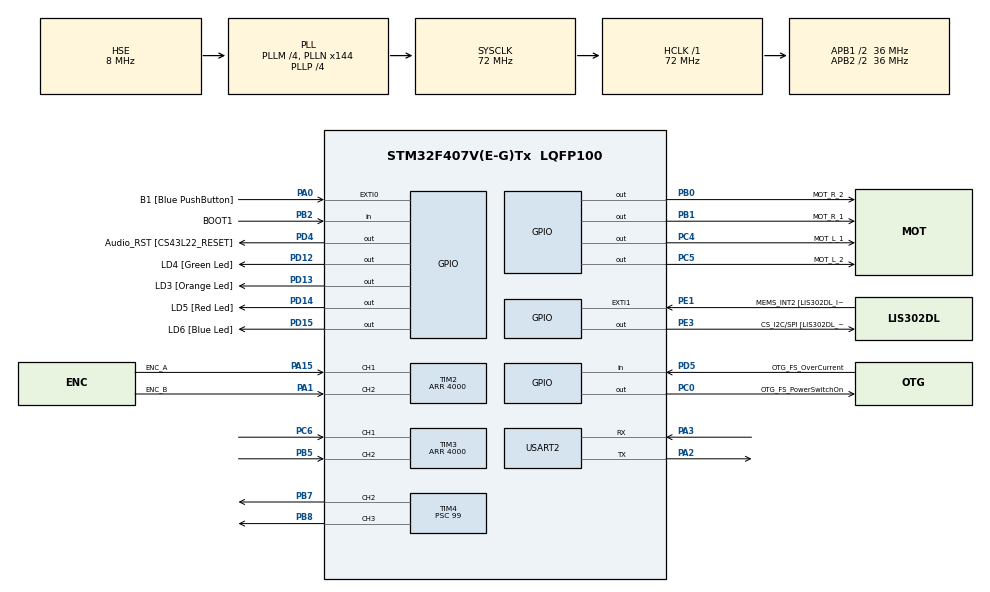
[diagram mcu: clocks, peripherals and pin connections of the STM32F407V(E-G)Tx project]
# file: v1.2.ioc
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PA11.GPIO_Speed=GPIO_SPEED_FREQ_LOW
PD12.GPIO_Label=LD4 [Green Led]
PH0-OSC_IN.Signal=RCC_OSC_IN
PC10.GPIO_PuPd=GPIO_NOPULL
PB10.GPIO_PuPd=GPIO_NOPULL
PA10.GPIO_PuPd=GPIO_NOPULL
PC12.Signal=I2S3_SD
PA14.GPIO_Label=SWCLK
PA6.GPIO_Label=SPI1_MISO [LIS302DL_SDO]
PB6.GPIO_Label=Audio_SCL [CS43L22_SCL]
PC15-OSC32_OUT.GPIO_Label=PC15-OSC32_OUT
PC3.GPIO_Speed=GPIO_SPEED_FREQ_LOW
RCC.SYSCLKSource=RCC_SYSCLKSOURCE_PLLCLK
PA6.GPIO_Mode=GPIO_MODE_AF_PP
PD14.GPIO_Speed=GPIO_SPEED_FREQ_LOW
Dma.USART2_RX.0.PeriphDataAlignment=DMA_PDATAALIGN_BYTE
PD4.Signal=GPIO_Output
RCC.APB2TimFreq_Value=72000000
PB6.Signal=I2C1_SCL
PC7.Signal=I2S3_MCK
PC3.Signal=I2S2_SD
PE1.Signal=GPXTI1
PA1.GPIO_PuPd=GPIO_PULLUP
TIM4.Channel-PWM\ Generation3\ CH3=TIM_CHANNEL_3
PB2.Signal=GPIO_Input
PC4.GPIO_Label=MOT_L_1
PA5.GPIO_PuPd=GPIO_NOPULL
PB1.GPIO_Label=MOT_R_1
PD5.GPIO_Mode=GPIO_MODE_INPUT
SH.S_TIM4_CH2.0=TIM4_CH2,PWM Generation2 CH2
PD14.GPIO_PuPd=GPIO_NOPULL
TIM4.Period=71
VP_FREERTOS_VS_CMSIS_V1.Mode=CMSIS_V1
PB2.GPIO_PuPd=GPIO_NOPULL
Mcu.Package=LQFP100
PB9.Signal=I2C1_SDA
PB1.Signal=GPIO_Output
NVIC.TimeBase=TIM1_UP_TIM10_IRQn
PD12.Signal=GPIO_Output
NVIC.TimeBaseIP=TIM1
PA10.Signal=USB_OTG_FS_ID
PB9.GPIO_PuPd=GPIO_NOPULL
TIM7.AutoReloadPreload=TIM_AUTORELOAD_PRELOAD_ENABLE
RCC.APB2CLKDivider=RCC_HCLK_DIV2
RCC.APB1TimFreq_Value=72000000
PC12.GPIO_PuPd=GPIO_NOPULL
PA6.GPIO_Speed=GPIO_SPEED_FREQ_LOW
PA12.GPIO_PuPd=GPIO_NOPULL
PA4.GPIO_Label=I2S3_WS [CS43L22_LRCK]
PD15.Signal=GPIO_Output
PC0.PinState=GPIO_PIN_SET
FREERTOS.Tasks01=defaultTask,0,128,StartDefaultTask,Default,NULL,Dynamic,NULL,NULL;Encoder,0,300,tsk_encoder,Default,NULL,Dynamic,NULL,NULL;PID,0,300,tsk_pid,Default,NULL,Dynamic,NULL,NULL;Usart,0,300,tsk_usart,Default,NULL,Dynamic,NULL,NULL
TIM2.IC1Filter=15
PA9.GPIO_Label=VBUS_FS
PB6.GPIO_PuPd=GPIO_NOPULL
PC6.Signal=S_TIM3_CH1
Dma.USART2_RX.0.Direction=DMA_PERIPH_TO_MEMORY
PA11.GPIO_Label=OTG_FS_DM
PE1.GPIO_PuPd=GPIO_NOPULL
PC0.Signal=GPIO_Output
RCC.APB1CLKDivider=RCC_HCLK_DIV2
PC14-OSC32_IN.Signal=RCC_OSC32_IN
PA0-WKUP.GPIO_Label=B1 [Blue PushButton]
PA0-WKUP.Signal=GPXTI0
PA3.Mode=Asynchronous
PC10.GPIO_Mode=GPIO_MODE_AF_PP
PB10.GPIO_Mode=GPIO_MODE_AF_PP
TIM3.IC2Filter=15
PA9.Signal=USB_OTG_FS_VBUS
PC7.GPIO_PuPd=GPIO_NOPULL
PB10.Signal=I2S2_CK
PA5.Signal=SPI1_SCK
TIM3.IC1Filter=15
PE1.GPIO_Label=MEMS_INT2 [LIS302DL_INT2]
PA7.GPIO_Speed=GPIO_SPEED_FREQ_LOW
PB2.GPIO_Mode=GPIO_MODE_INPUT
PD4.GPIO_Speed=GPIO_SPEED_FREQ_LOW
PA1.GPIO_Label=ENC_B
PE3.GPIO_PuPd=GPIO_NOPULL
PH1-OSC_OUT.GPIO_Label=PH1-OSC_OUT
TIM2.Period=4000
PA13.Mode=Serial_Wire
Dma.USART2_RX.0.MemInc=DMA_MINC_ENABLE
PC7.GPIO_Label=I2S3_MCK [CS43L22_MCLK]
PA4.Signal=I2S3_WS
PC12.GPIO_Mode=GPIO_MODE_AF_PP
PB5.Signal=S_TIM3_CH2
PA5.GPIO_Label=SPI1_SCK [LIS302DL_SCL/SPC]
PE3.GPIO_Speed=GPIO_SPEED_FREQ_LOW
PC12.GPIO_Label=I2S3_SD [CS43L22_SDIN]
PA11.Signal=USB_OTG_FS_DM
SH.S_TIM2_CH1_ETR.0=TIM2_CH1,Encoder_Interface
ProjectManager.HeapSize=0x200
NVIC.TIM1_UP_TIM10_IRQn=true\:0\:0\:false\:false\:true\:false\:false\:true
VP_TIM4_VS_ClockSourceINT.Mode=Internal
NVIC.PriorityGroup=NVIC_PRIORITYGROUP_4
PE3.Signal=GPIO_Output
PC3.GPIO_Label=PDM_OUT [MP45DT02_DOUT]
PB6.GPIO_Speed=GPIO_SPEED_FREQ_LOW
PB0.Signal=GPIO_Output
TIM2.IC2Filter=15
Mcu.Family=STM32F4
PC3.GPIO_Mode=GPIO_MODE_AF_PP
RCC.CortexFreq_Value=72000000
PB10.GPIO_Speed=GPIO_SPEED_FREQ_LOW
PB6.GPIO_Mode=GPIO_MODE_AF_OD
PD15.GPIO_Speed=GPIO_SPEED_FREQ_LOW
PC10.Signal=I2S3_CK
PA7.GPIO_Mode=GPIO_MODE_AF_PP
PC0.GPIO_Label=OTG_FS_PowerSwitchOn
PB0.GPIO_Label=MOT_R_2
PC10.GPIO_Speed=GPIO_SPEED_FREQ_LOW
PA11.GPIO_PuPd=GPIO_NOPULL
ProjectManager.StackSize=0x400
VP_TIM7_VS_ClockSourceINT.Mode=Enable_Timer
PD13.Signal=GPIO_Output
PA15.GPIO_Label=ENC_A
PA12.Signal=USB_OTG_FS_DP
Dma.USART2_RX.0.Priority=DMA_PRIORITY_LOW
RCC.HCLKFreq_Value=72000000
TIM3.Period=4000
TIM7.Period=1999
RCC.AHBFreq_Value=72000000
PH0-OSC_IN.Mode=HSE-External-Clock-Source
PH0-OSC_IN.GPIO_Label=PH0-OSC_IN
PA9.GPIO_Mode=GPIO_MODE_INPUT
RCC.HSE_VALUE=8000000
PA4.GPIO_PuPd=GPIO_NOPULL
PA4.GPIO_Speed=GPIO_SPEED_FREQ_LOW
PA6.GPIO_PuPd=GPIO_NOPULL
Dma.USART2_RX.0.MemDataAlignment=DMA_MDATAALIGN_BYTE
PA14.Mode=Serial_Wire
VP_SYS_VS_tim1.Mode=TIM1
PA10.GPIO_Label=OTG_FS_ID
Dma.USART2_RX.0.Instance=DMA1_Stream5
PC7.GPIO_Mode=GPIO_MODE_AF_PP
PB7.Signal=S_TIM4_CH2
SH.S_TIM3_CH1.0=TIM3_CH1,Encoder_Interface
TIM4.OCFastMode_PWM-PWM\ Generation2\ CH2=TIM_OCFAST_ENABLE
PH1-OSC_OUT.Mode=HSE-External-Clock-Source
PD13.GPIO_Label=LD3 [Orange Led]
PA6.Signal=SPI1_MISO
Dma.USART2_RX.0.PeriphInc=DMA_PINC_DISABLE
USART2.VirtualMode=VM_ASYNC
Dma.USART2_RX.0.FIFOMode=DMA_FIFOMODE_DISABLE
RCC.EnbaleCSS=true
PD5.GPIO_Label=OTG_FS_OverCurrent
PD15.GPIO_PuPd=GPIO_NOPULL
PA15.Signal=S_TIM2_CH1_ETR
PA10.GPIO_Speed=GPIO_SPEED_FREQ_LOW
PB9.GPIO_Speed=GPIO_SPEED_FREQ_LOW
PC14-OSC32_IN.GPIO_Label=PC14-OSC32_IN
PC5.Signal=GPIO_Output
PC0.GPIO_PuPd=GPIO_NOPULL
Dma.Request0=USART2_RX
NVIC.TIM7_IRQn=true\:5\:0\:false\:false\:true\:true\:true\:true
PA12.GPIO_Speed=GPIO_SPEED_FREQ_LOW
PA3.Signal=USART2_RX
PB3.GPIO_Label=SWO
RCC.PLLSourceVirtual=RCC_PLLSOURCE_HSE
TIM4.AutoReloadPreload=TIM_AUTORELOAD_PRELOAD_ENABLE
PD12.GPIO_Speed=GPIO_SPEED_FREQ_LOW
PD15.GPIO_Label=LD6 [Blue Led]
PB9.GPIO_Label=Audio_SDA [CS43L22_SDA]
PC10.GPIO_Label=I2S3_SCK [CS43L22_SCLK]
PC4.Signal=GPIO_Output
PD5.Signal=GPIO_Input
PE1.GPIO_ModeDefaultEXTI=GPIO_MODE_EVT_RISING
TIM4.OCFastMode_PWM-PWM\ Generation3\ CH3=TIM_OCFAST_ENABLE
PA9.GPIO_PuPd=GPIO_NOPULL
PA12.GPIO_Label=OTG_FS_DP
Dma.USART2_RX.0.Mode=DMA_CIRCULAR
PA10.GPIO_Mode=GPIO_MODE_AF_PP
PA13.Signal=SYS_JTMS-SWDIO
SH.S_TIM2_CH2.0=TIM2_CH2,Encoder_Interface
PD4.GPIO_PuPd=GPIO_NOPULL
PC0.GPIO_Speed=GPIO_SPEED_FREQ_LOW
ProjectManager.TargetToolchain=Makefile
PB10.GPIO_Label=CLK_IN [MP45DT02_CLK]
NVIC.DMA1_Stream5_IRQn=true\:5\:0\:false\:false\:true\:true\:false\:true
SH.S_TIM4_CH3.0=TIM4_CH3,PWM Generation3 CH3
TIM4.Prescaler=99
RCC.LSE_VALUE=32768
PC15-OSC32_OUT.Signal=RCC_OSC32_OUT
PA7.GPIO_PuPd=GPIO_NOPULL
PA1.Signal=S_TIM2_CH2
SH.S_TIM3_CH2.0=TIM3_CH2,Encoder_Interface
TIM7.Prescaler=719
board=STM32F407G-DISC1
PD13.GPIO_Speed=GPIO_SPEED_FREQ_LOW
PC7.GPIO_Speed=GPIO_SPEED_FREQ_LOW
RCC.VCOOutputFreq_Value=288000000
PB9.GPIO_Mode=GPIO_MODE_AF_OD
PA12.GPIO_Mode=GPIO_MODE_AF_PP
PA4.GPIO_Mode=GPIO_MODE_AF_PP
TIM4.Channel-PWM\ Generation2\ CH2=TIM_CHANNEL_2
RCC.APB2Freq_Value=36000000
PD4.GPIO_Label=Audio_RST [CS43L22_RESET]
PH1-OSC_OUT.Signal=RCC_OSC_OUT
PD13.GPIO_PuPd=GPIO_NOPULL
PD5.GPIO_PuPd=GPIO_NOPULL
PD14.GPIO_Label=LD5 [Red Led]
Mcu.Name=STM32F407V(E-G)Tx
PA2.Signal=USART2_TX
PA13.GPIO_Label=SWDIO
PD14.Signal=GPIO_Output
RCC.48MHZClocksFreq_Value=41142857.14285714
PB3.Signal=SYS_JTDO-SWO
RCC.SYSCLKFreq_VALUE=72000000
PA7.GPIO_Label=SPI1_MOSI [LIS302DL_SDA/SDI/SDO]
PC5.GPIO_Label=MOT_L_2
PA14.Signal=SYS_JTCK-SWCLK
PB2.GPIO_Label=BOOT1
RCC.HSI_VALUE=16000000
RCC.PLLP=RCC_PLLP_DIV4
PA5.GPIO_Speed=GPIO_SPEED_FREQ_LOW
RCC.PLLQ=7
RCC.PLLM=4
RCC.PLLN=144
PA15.GPIO_PuPd=GPIO_PULLUP
PA2.Mode=Asynchronous
PB8.Signal=S_TIM4_CH3
PE3.GPIO_Label=CS_I2C/SPI [LIS302DL_CS_I2C/SPI]
PA11.GPIO_Mode=GPIO_MODE_AF_PP
RCC.APB1Freq_Value=36000000
PA5.GPIO_Mode=GPIO_MODE_AF_PP
PC12.GPIO_Speed=GPIO_SPEED_FREQ_LOW
PC3.GPIO_PuPd=GPIO_NOPULL
PD12.GPIO_PuPd=GPIO_NOPULL
PA7.Signal=SPI1_MOSI

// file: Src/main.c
/* USER CODE BEGIN Header */
/**
  ******************************************************************************
  * @file           : main.c
  * @brief          : Main program body
  ******************************************************************************
  * @attention
  *
  * <h2><center>&copy; Copyright (c) 2020 STMicroelectronics.
  * All rights reserved.</center></h2>
  *
  * This software component is licensed by ST under Ultimate Liberty license
  * SLA0044, the "License"; You may not use this file except in compliance with
  * the License. You may obtain a copy of the License at:
  *                             www.st.com/SLA0044
  *
  ******************************************************************************
  */
/* USER CODE END Header */

#include "main.h"
#include "cmsis_os.h"
#include "dma.h"
#include "tim.h"
#include "usart.h"
#include "gpio.h"

/* USER CODE BEGIN PV */
extern uint32_t last_count_l,current_count_l;
extern uint32_t last_count_r,current_count_r;
/* USER CODE END PV */

void SystemClock_Config(void);
void MX_FREERTOS_Init(void);

int main(void)
{

  /* MCU Configuration--------------------------------------------------------*/

  /* Reset of all peripherals, Initializes the Flash interface and the Systick. */
  HAL_Init();

  /* Configure the system clock */
  SystemClock_Config();

  /* Initialize all configured peripherals */
  MX_GPIO_Init();
  MX_DMA_Init();
  MX_TIM2_Init();
  MX_TIM3_Init();
  MX_TIM7_Init();
  MX_TIM4_Init();
  MX_USART2_UART_Init();

  /* Call init function for freertos objects (in freertos.c) */
  MX_FREERTOS_Init();
  /* Start scheduler */
  osKernelStart();

  /* We should never get here as control is now taken by the scheduler */
  /* Infinite loop */
  while (1)
  {

  }
}

void SystemClock_Config(void)
{
  RCC_OscInitTypeDef RCC_OscInitStruct = {0};
  RCC_ClkInitTypeDef RCC_ClkInitStruct = {0};

  /** Configure the main internal regulator output voltage
  */
  __HAL_RCC_PWR_CLK_ENABLE();
  __HAL_PWR_VOLTAGESCALING_CONFIG(PWR_REGULATOR_VOLTAGE_SCALE1);
  /** Initializes the CPU, AHB and APB busses clocks
  */
  RCC_OscInitStruct.OscillatorType = RCC_OSCILLATORTYPE_HSE;
  RCC_OscInitStruct.HSEState = RCC_HSE_BYPASS;
  RCC_OscInitStruct.PLL.PLLState = RCC_PLL_ON;
  RCC_OscInitStruct.PLL.PLLSource = RCC_PLLSOURCE_HSE;
  RCC_OscInitStruct.PLL.PLLM = 4;
  RCC_OscInitStruct.PLL.PLLN = 144;
  RCC_OscInitStruct.PLL.PLLP = RCC_PLLP_DIV4;
  RCC_OscInitStruct.PLL.PLLQ = 7;
  if (HAL_RCC_OscConfig(&RCC_OscInitStruct) != HAL_OK)
  {
    Error_Handler();
  }
  /** Initializes the CPU, AHB and APB busses clocks
  */
  RCC_ClkInitStruct.ClockType = RCC_CLOCKTYPE_HCLK|RCC_CLOCKTYPE_SYSCLK
                              |RCC_CLOCKTYPE_PCLK1|RCC_CLOCKTYPE_PCLK2;
  RCC_ClkInitStruct.SYSCLKSource = RCC_SYSCLKSOURCE_PLLCLK;
  RCC_ClkInitStruct.AHBCLKDivider = RCC_SYSCLK_DIV1;
  RCC_ClkInitStruct.APB1CLKDivider = RCC_HCLK_DIV2;
  RCC_ClkInitStruct.APB2CLKDivider = RCC_HCLK_DIV2;

  if (HAL_RCC_ClockConfig(&RCC_ClkInitStruct, FLASH_LATENCY_2) != HAL_OK)
  {
    Error_Handler();
  }
  /** Enables the Clock Security System
  */
  HAL_RCC_EnableCSS();
}

 /**
  * @brief  Period elapsed callback in non blocking mode
  * @note   This function is called  when TIM1 interrupt took place, inside
  * HAL_TIM_IRQHandler(). It makes a direct call to HAL_IncTick() to increment
  * a global variable "uwTick" used as application time base.
  * @param  htim : TIM handle
  * @retval None
  */
void HAL_TIM_PeriodElapsedCallback(TIM_HandleTypeDef *htim)
{
  if (htim->Instance == TIM1) {
    HAL_IncTick();
  }
  /* USER CODE BEGIN Callback 1 */
  else if(htim->Instance == TIM7){
    last_count_l = current_count_l;
    current_count_l = (int32_t)__HAL_TIM_GET_COUNTER(&htim2);
    last_count_r = current_count_r;
    current_count_r = (int32_t)__HAL_TIM_GET_COUNTER(&htim3);
  }
  /* USER CODE END Callback 1 */
}

void Error_Handler(void)
{
}

/************************ (C) COPYRIGHT STMicroelectronics *****END OF FILE****/

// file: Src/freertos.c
/* USER CODE BEGIN Header */
/**
  ******************************************************************************
  * File Name          : freertos.c
  * Description        : Code for freertos applications
  ******************************************************************************
  * @attention
  *
  * <h2><center>&copy; Copyright (c) 2020 STMicroelectronics.
  * All rights reserved.</center></h2>
  *
  * This software component is licensed by ST under Ultimate Liberty license
  * SLA0044, the "License"; You may not use this file except in compliance with
  * the License. You may obtain a copy of the License at:
  *                             www.st.com/SLA0044
  *
  ******************************************************************************
  */
/* USER CODE END Header */

#include "FreeRTOS.h"
#include "task.h"
#include "main.h"
#include "cmsis_os.h"

/* USER CODE BEGIN Includes */

// Standard libraries
#include "stdint.h"

// CubeMx libraries
#include "tim.h"
#include "usart.h"

// Noah libraries
#include "Config.h"
#include "Encoder.h"
#include "Motor.h"
#include "NoahUtils.h"
#include "UsartCommunication.h"

/* USER CODE END Includes */

/* USER CODE BEGIN Variables */
float current_speed_l = 0.0, current_error_l, targetSpeed_l, integrationSum_l, derivative_l, previousError_l, speed_calc_l;
float current_speed_r = 0.0, current_error_r, targetSpeed_r, integrationSum_r, derivative_r, previousError_r, speed_calc_r;
float motorKP = 0.0f ,motorKI = 0.0f, motorKD = 0.0f;

int32_t last_count_l = 0.0, current_count_l = 0.0, duty_l, current_diff_l = 0 ;
int32_t last_count_r = 0.0, current_count_r = 0.0, duty_r, current_diff_r = 0 ;

/* USER CODE END Variables */
osThreadId defaultTaskHandle;
osThreadId EncoderHandle;
osThreadId PIDHandle;
osThreadId UsartHandle;

void StartDefaultTask(void const * argument);
void tsk_encoder(void const * argument);
void tsk_pid(void const * argument);
void tsk_usart(void const * argument);

void MX_FREERTOS_Init(void); /* (MISRA C 2004 rule 8.1) */

/* GetIdleTaskMemory prototype (linked to static allocation support) */
void vApplicationGetIdleTaskMemory( StaticTask_t **ppxIdleTaskTCBBuffer, StackType_t **ppxIdleTaskStackBuffer, uint32_t *pulIdleTaskStackSize );

/* USER CODE BEGIN GET_IDLE_TASK_MEMORY */
static StaticTask_t xIdleTaskTCBBuffer;
static StackType_t xIdleStack[configMINIMAL_STACK_SIZE];

void vApplicationGetIdleTaskMemory( StaticTask_t **ppxIdleTaskTCBBuffer, StackType_t **ppxIdleTaskStackBuffer, uint32_t *pulIdleTaskStackSize )
{
  *ppxIdleTaskTCBBuffer = &xIdleTaskTCBBuffer;
  *ppxIdleTaskStackBuffer = &xIdleStack[0];
  *pulIdleTaskStackSize = configMINIMAL_STACK_SIZE;
  /* place for user code */
}
/* USER CODE END GET_IDLE_TASK_MEMORY */

void MX_FREERTOS_Init(void) {

  /* Create the thread(s) */
  /* definition and creation of defaultTask */
  osThreadDef(defaultTask, StartDefaultTask, osPriorityNormal, 0, 128);
  defaultTaskHandle = osThreadCreate(osThread(defaultTask), NULL);

  /* definition and creation of Encoder */
  osThreadDef(Encoder, tsk_encoder, osPriorityNormal, 0, 300);
  EncoderHandle = osThreadCreate(osThread(Encoder), NULL);

  /* definition and creation of PID */
  osThreadDef(PID, tsk_pid, osPriorityNormal, 0, 300);
  PIDHandle = osThreadCreate(osThread(PID), NULL);

  /* definition and creation of Usart */
  osThreadDef(Usart, tsk_usart, osPriorityNormal, 0, 300);
  UsartHandle = osThreadCreate(osThread(Usart), NULL);

}

void StartDefaultTask(void const * argument)
{
  for(;;)
  {
    osDelay(1);
  }
}

void tsk_encoder(void const * argument)
{
  /* USER CODE BEGIN tsk_encoder */
  /* Infinite loop */
    int32_t *ptr_l;
    int32_t *ptr_r;
    int32_t diff_l[ENCODER_BUFFER_SIZE];
    int32_t diff_r[ENCODER_BUFFER_SIZE];
    uint16_t  aux;
    for (aux = 0; aux < ENCODER_BUFFER_SIZE; ++aux) {
        diff_l[aux] = 0;
        diff_r[aux] = 0;
    }
    ptr_l = diff_l;
    ptr_r = diff_r;
    HAL_TIM_Encoder_Start_IT(&htim2, TIM_CHANNEL_ALL);
    HAL_TIM_Encoder_Start_IT(&htim3, TIM_CHANNEL_ALL);
    HAL_TIM_Base_Start_IT (&htim7);
    /* Infinite loop */
    for (;;) {
        osDelay((uint32_t)ENCODER_UPDATE_INTERVAL_MS);

        // SpeedCalculation encoder L
        if (isCountingUpL()) {
          if (current_count_l >= last_count_l) {
              current_diff_l = current_count_l - last_count_l;
          } else {
              current_diff_l = (ENCODER_TIMER_MAX_VAL - last_count_l) + current_count_l;
          }
        } else {
          if (current_count_l > last_count_l) {
              current_diff_l = (ENCODER_TIMER_MAX_VAL - current_count_l) + last_count_l;
          } else {
              current_diff_l = (last_count_l - current_count_l);
          }
          current_diff_l = -current_diff_l;
        }
        *ptr_l = current_diff_l;
        ++ptr_l;
        if (ptr_l == (diff_l + ENCODER_BUFFER_SIZE)) {
          ptr_l = diff_l;
          sortArray(diff_l, ENCODER_BUFFER_SIZE);
          speed_calc_l = MeanCalc(diff_l, ENCODER_BUFFER_SIZE, ENCODER_MEAN_DISCARD_COUNT);
          speed_calc_l = (((speed_calc_l / (ENCODER_UPDATE_INTERVAL_MS / 1000.0f)) / STEPS_PER_TURN) * 2 * (float)M_PI * WHEEL_RADIUS);
          current_speed_l = applyResolutiom(speed_calc_l, SPEED_RESOLUTION);
        }

        // SpeedCalculation encoder R
        if (isCountingUpR()) {
          if (current_count_r >= last_count_r) {
              current_diff_r = current_count_r - last_count_r;
          } else {
              current_diff_r = (ENCODER_TIMER_MAX_VAL - last_count_r) + current_count_r;
          }
        } else {
          if (current_count_r > last_count_r) {
              current_diff_r = (ENCODER_TIMER_MAX_VAL - current_count_r) + last_count_r;
          } else {
              current_diff_r = (last_count_r - current_count_r);
          }
          current_diff_r = -current_diff_r;
        }
        *ptr_r = current_diff_r;
        ++ptr_r;
        if (ptr_r == (diff_r + ENCODER_BUFFER_SIZE)) {
          ptr_r = diff_r;
          sortArray(diff_r, ENCODER_BUFFER_SIZE);
          speed_calc_r = MeanCalc(diff_r, ENCODER_BUFFER_SIZE, ENCODER_MEAN_DISCARD_COUNT);
          speed_calc_r = (((speed_calc_r / (ENCODER_UPDATE_INTERVAL_MS / 1000.0f)) / STEPS_PER_TURN) * 2 * (float)M_PI * WHEEL_RADIUS);
          current_speed_r = applyResolutiom(speed_calc_r, 0.02);
        }
    }
  /* USER CODE END tsk_encoder */
}

void tsk_pid(void const * argument)
{
  /* USER CODE BEGIN tsk_pid */

	// Initialize PID system, float32_t format.
  targetSpeed_l = 0.0f;
  targetSpeed_r = 0.0f;
  motorKP = PID_PARAM_KP;
  motorKI = PID_PARAM_KI;
  motorKD = PID_PARAM_KD;

  // Initialize the motor driver.
  motor_init();

    /* Infinite loop */
    for (;;) {
        osDelay((uint32_t)PID_UPDATE_RATE_MS);

        // Implementación PID for motor L.
        current_error_l = targetSpeed_l - current_speed_l;
        // We divide by 1000 to convert miliseconds in seconds.
        integrationSum_l += (current_error_l * (PID_UPDATE_RATE_MS / 1000.0f));
        if(integrationSum_l > MAX_INTEGRATION_SUM) {
          integrationSum_l = MAX_INTEGRATION_SUM;
        }
        else if(fabs(integrationSum_l) > MAX_INTEGRATION_SUM){
          integrationSum_l = -MAX_INTEGRATION_SUM;
        }
        derivative_l = (current_error_l - previousError_l) / (PID_UPDATE_RATE_MS / 1000.0f);
        duty_l = (int32_t)((motorKP * current_error_l) + (motorKI * integrationSum_l) + (motorKD * derivative_l));
        previousError_l = current_error_l;
        if (duty_l > MAX_DUTY_PWM){
          duty_l = MAX_DUTY_PWM;
        }
        else if(abs(duty_l) < MIN_DUTY_PWM) {
          duty_l = 0;
        }
        else if(abs(duty_l) > MAX_DUTY_PWM){
          duty_l = -MAX_DUTY_PWM;
        }
        motor_set_duty(MOTOR_L, duty_l);

        // Implementación PID for motor R.
        current_error_r = targetSpeed_r - current_speed_r;
        // We divide by 1000 to convert miliseconds in seconds.
        integrationSum_r += (current_error_r * (PID_UPDATE_RATE_MS / 1000.0f));
        if(integrationSum_r > MAX_INTEGRATION_SUM) {
          integrationSum_r = MAX_INTEGRATION_SUM;
        }
        else if(fabs(integrationSum_r) > MAX_INTEGRATION_SUM){
          integrationSum_r = -MAX_INTEGRATION_SUM;
        }
        derivative_r = (current_error_r - previousError_r) / (PID_UPDATE_RATE_MS / 1000.0f);
        duty_r = (int32_t)((motorKP * current_error_r) + (motorKI * integrationSum_r) + (motorKD * derivative_r));
        previousError_r = current_error_r;
        if (duty_r > MAX_DUTY_PWM){
          duty_r = MAX_DUTY_PWM;
        }
        else if(abs(duty_r) < MIN_DUTY_PWM) {
          duty_r = 0;
        }
        else if(abs(duty_r) > MAX_DUTY_PWM){
          duty_r = -MAX_DUTY_PWM;
        }
        motor_set_duty(MOTOR_R, duty_r);
    }
  /* USER CODE END tsk_pid */
}

void tsk_usart(void const * argument)
{
  /* USER CODE BEGIN tsk_usart */
  usartComms_init();
  /* Infinite loop */
  for(;;)
  {
    usartComms_update();
    osDelay(UART_COMMS_UPDATE_RATE_MS);
  }
  /* USER CODE END tsk_usart */
}

/************************ (C) COPYRIGHT STMicroelectronics *****END OF FILE****/
